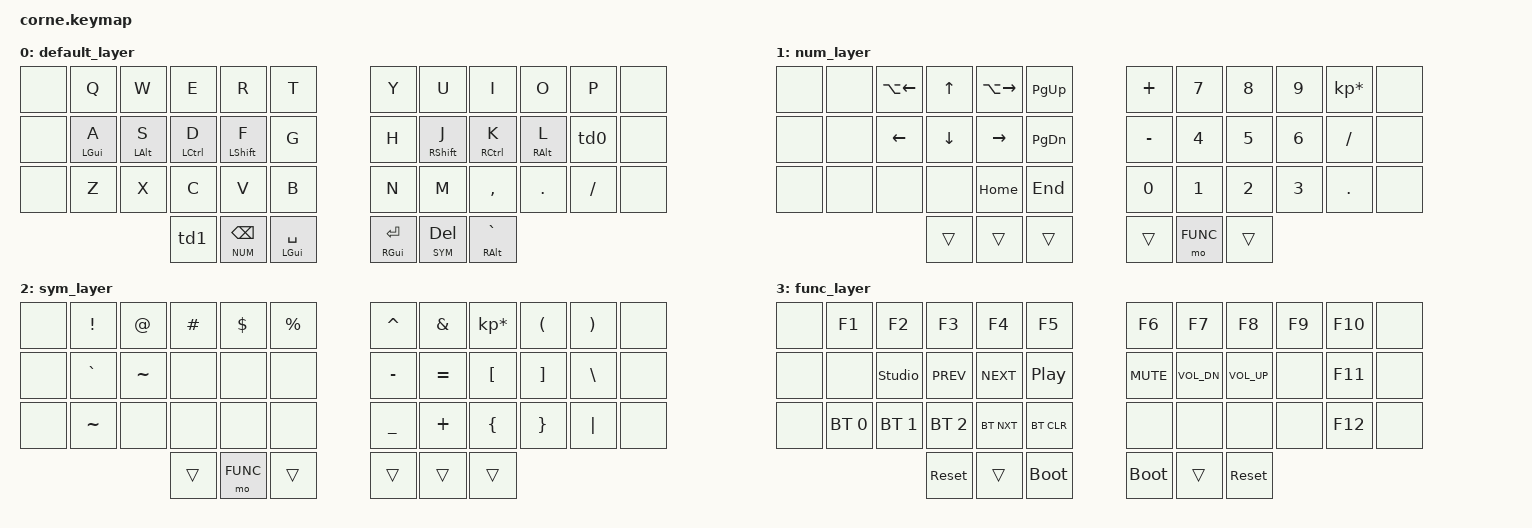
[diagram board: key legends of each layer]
/*
 * Copyright (c) 2020 The ZMK Contributors
 *
 * SPDX-License-Identifier: MIT
 */

#include <dt-bindings/zmk/keys.h>
#include <dt-bindings/zmk/bt.h>
#include <dt-bindings/zmk/ext_power.h>
#include <behaviors.dtsi>

// LAYERS
#define DEFAULT 0
#define NUM     1
#define SYM     2
#define FUNC    3

// MACROS
// #define SUPER LC(LSHIFT)
// #define SUPER2 LA(LC(LSHIFT))

// Opposite-hand key positions, used to restrict homerow mod holds to
// cross-hand chords so same-hand rolls resolve as taps.
#define LEFT_HAND_KEYS 1 2 3 4 5 13 14 15 16 17 25 26 27 28 29 36 37 38
#define RIGHT_HAND_KEYS 6 7 8 9 10 18 19 20 21 22 30 31 32 33 34 39 40 41

&mt {
  tapping-term-ms = <200>;
  flavor = "tap-preferred";
};

/ {
  behaviors {
    hml: homerow_mods_left {
      compatible = "zmk,behavior-hold-tap";
      label = "HOMEROW_MODS_LEFT";
      #binding-cells = <2>;
      tapping-term-ms = <200>;
      quick-tap-ms = <0>;
      flavor = "tap-preferred";
      bindings = <&kp>, <&kp>;
      hold-trigger-key-positions = <RIGHT_HAND_KEYS>;
      hold-trigger-on-release;
    };

    hmr: homerow_mods_right {
      compatible = "zmk,behavior-hold-tap";
      label = "HOMEROW_MODS_RIGHT";
      #binding-cells = <2>;
      tapping-term-ms = <200>;
      quick-tap-ms = <0>;
      flavor = "tap-preferred";
      bindings = <&kp>, <&kp>;
      hold-trigger-key-positions = <LEFT_HAND_KEYS>;
      hold-trigger-on-release;
    };

    td0: tap_dance_0 {
      compatible = "zmk,behavior-tap-dance";
      label = "TAP_DANCE_0";
      #binding-cells = <0>;
      tapping-term-ms = <200>;
      bindings = <&hmr RGUI SEMI>, <&kp SQT>;
    };

    td1: tap_dance_1 {
      compatible = "zmk,behavior-tap-dance";
      label = "TAP_DANCE_1";
      #binding-cells = <0>;
      tapping-term-ms = <200>;
      bindings = <&mt LCTRL TAB>, <&kp ESC>;
    };
  };

  combos {
    compatible = "zmk,combos";
    combo_cword {
      timeout-ms = <50>;
      key-positions = <16 19>;
      require-prior-idle-ms = <150>;
      bindings = <&caps_word>;
    };

    combo_vimwq {
      timeout-ms = <50>;
      key-positions = <1 2>;
      require-prior-idle-ms = <150>;
      bindings = <&vim_quit>;
    };
  };

  //macros {
  //      vim_quit: vim_quit {
  //          label = "ZM_vim_quit";
  //          compatible = "zmk,behavior-macro";
  //          #binding-cells = <0>;
  //          bindings
  //              = <&macro_tap &kp ESC &kp COLON &kp W &kp Q>;
  //      };
  //  };

  keymap {
    compatible = "zmk,keymap";

    default_layer {
      bindings = <

&none   /**/  &kp Q           &kp W       &kp E       &kp R           &kp T   /**/  &kp Y    &kp U           &kp I       &kp O       &kp P          /**/  &none
&none   /**/  &hml LGUI A     &hml LALT S &hml LCTRL D &hml LSHIFT F  &kp G   /**/  &kp H    &hmr RSHIFT J   &hmr RCTRL K &hmr RALT L &td0           /**/  &none
&none   /**/  &kp Z           &kp X       &kp C       &kp V           &kp B   /**/  &kp N    &kp M           &kp COMMA   &kp DOT     &kp FSLH       /**/  &none
              &td1  &lt NUM BSPC &mt LGUI SPACE  /**/  &mt RGUI RET &lt SYM DEL &mt RALT GRAVE

      >;
    };

    num_layer {
      bindings = <

&none   /**/  &none         &kp LA(LEFT)  &kp UP        &kp LA(RIGHT) &kp PG_UP  /**/  &kp PLUS   &kp N7  &kp N8  &kp N9  &kp KP_MULTIPLY  /**/  &none
&none   /**/  &none         &kp LEFT      &kp DOWN      &kp RIGHT     &kp PG_DN  /**/  &kp MINUS  &kp N4  &kp N5  &kp N6  &kp SLASH        /**/  &none
&none   /**/  &none         &none         &none         &kp HOME      &kp END    /**/  &kp N0     &kp N1  &kp N2  &kp N3  &kp DOT          /**/  &none
              &trans  &trans  &trans  /**/  &trans  &mo FUNC  &trans

      >;
    };

    sym_layer {
      bindings = <

&none   /**/  &kp EXCL    &kp AT         &kp HASH     &kp DLLR    &kp PRCNT   /**/  &kp CARET &kp AMPS  &kp KP_MULTIPLY &kp LPAR &kp RPAR  /**/  &none
&none   /**/  &kp GRAVE   &kp TILDE      &none        &none       &none  /**/  &kp MINUS &kp EQUAL &kp LBKT        &kp RBKT &kp BSLH  /**/  &none
&none   /**/  &kp TILDE   &none          &none        &none       &none       /**/  &kp UNDER &kp PLUS  &kp LBRC        &kp RBRC &kp PIPE  /**/  &none
              &trans &mo FUNC &trans  /**/  &trans &trans &trans

      >;
    };

    func_layer {
      bindings = <

&none   /**/  &kp F1          &kp F2          &kp F3          &kp F4     &kp F5            /**/  &kp F6          &kp F7       &kp F8       &kp F9   &kp F10  /**/  &none
&none   /**/  &none           &studio_unlock  &kp C_PREV      &kp C_NEXT &kp C_PLAY_PAUSE  /**/  &kp C_MUTE      &kp C_VOL_DN &kp C_VOL_UP &none    &kp F11  /**/  &none
&none   /**/  &bt BT_SEL 0    &bt BT_SEL 1    &bt BT_SEL 2    &bt BT_NXT &bt BT_CLR        /**/  &none           &none        &none        &none    &kp F12  /**/  &none
              &sys_reset &trans &bootloader  /**/  &bootloader &trans &sys_reset

      >;
    };
  };
};
